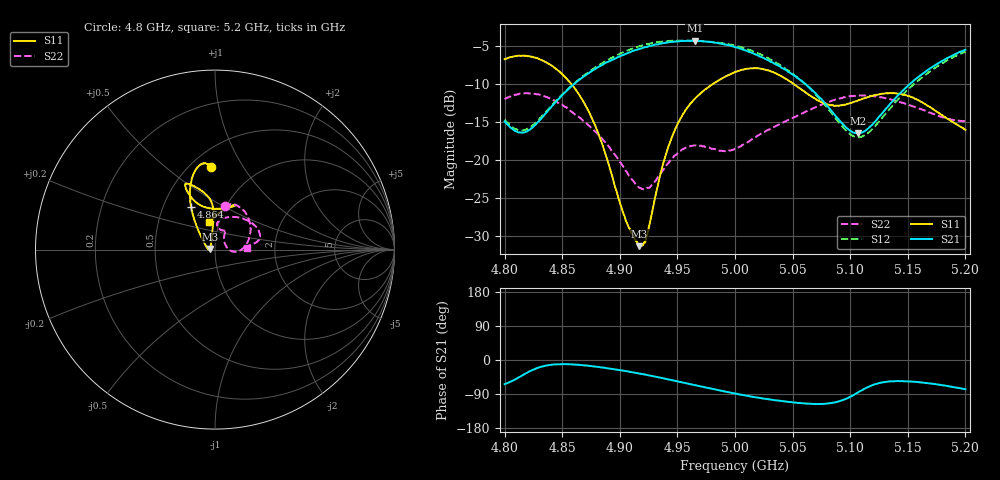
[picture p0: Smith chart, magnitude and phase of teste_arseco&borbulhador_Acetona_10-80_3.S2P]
! Network Analyzer HP8722D
! Hewlett-Packard
! Data name: Linha & Wilkinson
! Saver's name: Rodrigo Anjos
! Comments: Teste da utilização de aquisição
! continua pelo VNA HP8722D
! Time and date: 25/4/2025 15:17
!  Frequency  S11  S21  S12  S22
# HZ  S  MA R 50
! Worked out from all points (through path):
!   401 points, 4.8 GHz to 5.2 GHz, reference 50 ohm
!   highest |S21| = -4.32 dB at 4.965 GHz (marker M1); lowest = -16.5 dB at 5.107 GHz (marker M2)
!   lowest |S11| = -31.4 dB at 4.917 GHz (marker M3), VSWR 1.06, Z = 47.4 + j0.401 ohm
!   |S11| at or under -10 dB: 4.858 GHz to 4.981 GHz (123.2 MHz wide, 2.51 % of centre); 5.051 GHz to end of sweep
!   |S22| runs from -23.9 to -11.2 dB; largest |S21 - S12| = 1.1
!   S11 on the Smith chart (normalised r, x): 4.8 GHz: 0.63, +0.73; 4.864 GHz: 0.69, +0.36; 5.2 GHz: 0.89, +0.28
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4.8e9  0.4589 93.0  0.1792 -63.7  0.1838 69.2  0.2515 76.9
4.811e9  0.4826 96.1  0.1525 -48.3  0.1579 83.2  0.2697 69.2
4.82e9  0.4805 99.3  0.1547 -32.5  0.1602 97.7  0.2746 61.5
4.843e9  0.4061 108.8  0.2343 -11.8  0.2377 118.3  0.2462 37.8
4.864e9  0.2734 119.1  0.3326 -12.6  0.3352 120.6  0.1923 15.1
4.867e9  0.2517 120.8  0.3456 -13.5  0.3495 120.4  0.1842 12.4
4.883e9  0.1375 131.3  0.414 -19.1  0.4247 117.2  0.1415 -1.3
4.906e9  0.03868 174.7  0.5014 -29.5  0.5223 109.1  0.08344 -2.8
4.917e9  0.02703 171.0  0.5362 -35.8  0.5593 103.6  0.06531 14.1
4.923e9  0.03092 139.1  0.5526 -39.1  0.5762 100.0  0.06437 28.7
4.934e9  0.07328 103.8  0.5788 -46.1  0.5979 93.4  0.07865 49.9
4.948e9  0.1586 93.4  0.6006 -55.0  0.6089 84.4  0.1073 59.0
4.965e9  0.2514 93.4  0.608 -66.4  0.6062 73.6  0.1245 59.4
5e9  0.3779 109.2  0.5522 -88.6  0.5652 51.0  0.1185 79.1
5.03e9  0.3848 115.3  0.4467 -104.0  0.461 33.8  0.1585 83.1
5.067e9  0.2595 108.0  0.2884 -115.8  0.2848 23.4  0.2168 56.4
5.086e9  0.2264 91.3  0.2 -112.3  0.1933 28.4  0.2468 39.4
5.107e9  0.2461 72.3  0.1496 -85.3  0.1409 57.6  0.2642 23.9
5.117e9  0.2609 67.5  0.1646 -69.2  0.1535 74.6  0.2637 18.5
5.134e9  0.2747 65.4  0.2303 -56.5  0.2148 88.7  0.2514 12.6
5.169e9  0.2229 78.3  0.3983 -61.8  0.3812 84.8  0.2047 7.8
5.2e9  0.1574 102.3  0.53 -77.1  0.5146 70.3  0.1793 2.7
